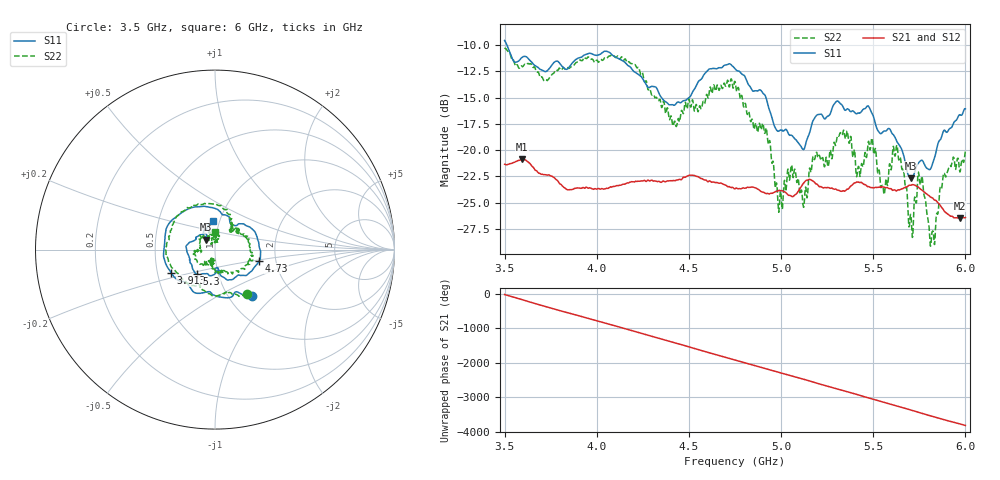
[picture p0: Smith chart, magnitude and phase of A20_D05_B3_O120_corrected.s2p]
! Created with skrf 1.9.0 (http://scikit-rf.org).
# Hz S RI R 50.0
!freq ReS11 ImS11 ReS21 ImS21 ReS12 ImS12 ReS22 ImS22
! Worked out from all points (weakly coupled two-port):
!   1601 points, 3.5 GHz to 6 GHz, reference 50 ohm
!   highest |S21| = -20.87 dB at 3.592 GHz (marker M1); lowest = -26.5 dB at 5.972 GHz (marker M2)
!   lowest |S11| = -22.7 dB at 5.706 GHz (marker M3), VSWR 1.16, Z = 45.1 + j4.99 ohm
!   |S11| at or under -10 dB: 3.513 GHz to end of sweep
!   |S22| runs from -29.1 to -10.3 dB; largest |S21 - S12| = 0.00093
!   S11 on the Smith chart (normalised r, x): 3.5 GHz: 1.27, -0.75; 3.913 GHz: 0.59, -0.17; 4.73 GHz: 1.64, -0.22; 5.3 GHz: 0.79, -0.22; 6 GHz: 0.93, +0.30
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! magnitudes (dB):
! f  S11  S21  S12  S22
! 3.5 GHz  -9.6  -21.3  -21.3  -10.3
! 3.592 GHz  -11.2  -20.9  -20.9  -12.0
! 3.913 GHz  -11.2  -23.6  -23.6  -11.4
! 3.917 GHz  -11.1  -23.6  -23.6  -11.5
! 4.334 GHz  -14.5  -23.0  -22.9  -15.3
! 4.423 GHz  -15.7  -22.9  -22.9  -17.2
! 4.73 GHz  -11.9  -23.6  -23.5  -13.2
! 4.75 GHz  -12.2  -23.7  -23.6  -13.5
! 4.911 GHz  -14.7  -24.1  -24.0  -18.4
! 4.995 GHz  -18.1  -23.9  -23.8  -24.0
! 5.064 GHz  -18.7  -24.4  -24.4  -22.5
! 5.13 GHz  -19.7  -23.0  -23.0  -23.9
! 5.167 GHz  -17.5  -22.9  -22.9  -21.5
! 5.3 GHz  -15.4  -23.7  -23.7  -19.2
! 5.584 GHz  -17.9  -23.7  -23.6  -22.0
! 5.636 GHz  -19.4  -23.8  -23.7  -20.7
! 5.706 GHz  -22.7  -23.3  -23.3  -26.6
! 5.755 GHz  -21.1  -23.7  -23.6  -23.3
! 5.822 GHz  -21.3  -24.6  -24.5  -27.7
! 5.875 GHz  -18.5  -25.5  -25.5  -23.1
! 5.972 GHz  -16.6  -26.5  -26.4  -22.0
! 6 GHz  -16.1  -26.4  -26.4  -20.1
